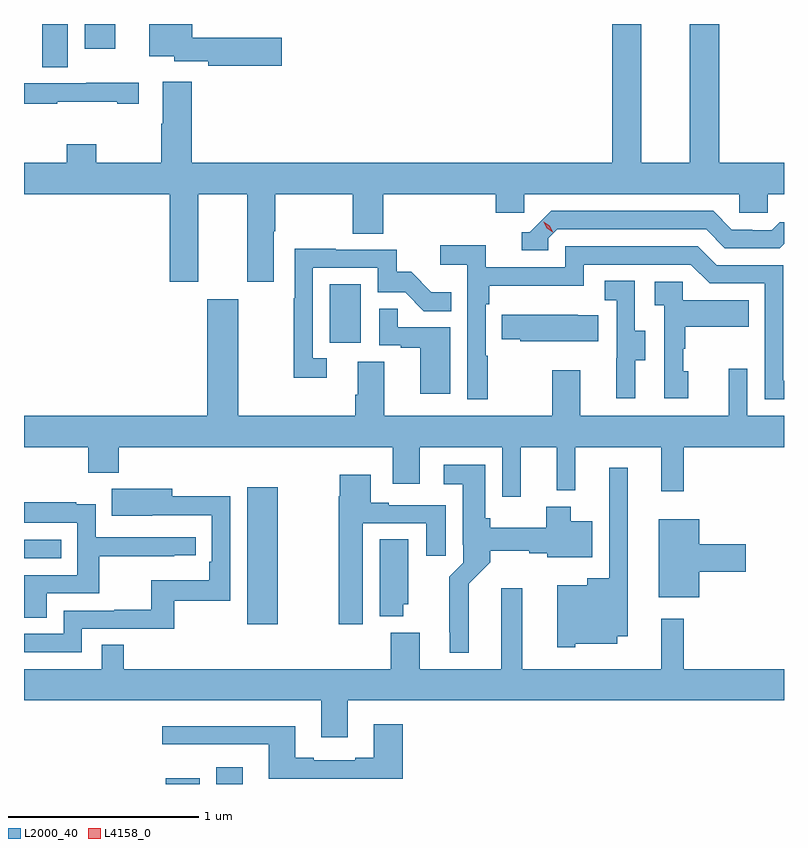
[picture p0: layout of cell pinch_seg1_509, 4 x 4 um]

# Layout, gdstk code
import gdstk
lib = gdstk.Library(unit=1e-6, precision=1e-09)
def R(c, l, rs):  # rectangles x0, y0, x1, y1
    for r in rs: c.add(gdstk.rectangle(r[:2], r[2:], *l))
def P(c, l, *ps):  # polygons
    for p in ps: c.add(gdstk.Polygon(p, *l))
L2000_40 = (2000, 40)
L4158_0 = (4158, 0)

pinch_seg1_509 = lib.new_cell('pinch_seg1_509')
R(pinch_seg1_509, L2000_40, [(1042.244,527.315,1042.423,527.344), (1042.511,527.315,1042.651,527.404), (1042.673,528.156,1042.834,528.877), (1041.499,528.504,1041.695,528.6), (1043.108,529.638,1043.272,529.945), (1041.596,531.088,1041.73,531.315), (1041.818,531.186,1041.979,531.315)])
P(pinch_seg1_509, L2000_40, [(1042.855,531.242),(1042.384,531.242),(1042.384,531.315),(1042.157,531.315),(1042.157,531.146),(1042.29,531.146),(1042.29,531.119),(1042.47,531.119),(1042.47,531.095),(1042.855,531.095)],
  [(1042.417,530.42),(1042.673,530.42),(1042.673,529.959),(1042.813,529.959),(1042.813,530.224),(1042.821,530.224),(1042.821,530.42),(1043.23,530.42),(1043.23,530.212),(1043.39,530.212),(1043.39,530.42),(1043.981,530.42),(1043.981,530.322),(1044.132,530.322),(1044.132,530.42),(1045.263,530.42),(1045.263,530.322),(1045.413,530.322),(1045.413,530.42),(1045.499,530.42),(1045.499,530.584),(1045.157,530.584),(1045.157,531.315),(1045.004,531.315),(1045.004,530.584),(1044.748,530.584),(1044.748,531.315),(1044.596,531.315),(1044.596,530.584),(1042.382,530.584),(1042.382,531.01),(1042.229,531.01),(1042.229,530.789),(1042.222,530.789),(1042.222,530.584),(1041.879,530.584),(1041.879,530.683),(1041.724,530.683),(1041.724,530.584),(1041.499,530.584),(1041.499,530.42),(1042.265,530.42),(1042.265,529.959),(1042.417,529.959)],
  [(1041.674,530.905),(1041.989,530.905),(1041.989,530.895),(1042.102,530.895),(1042.102,531.005),(1041.826,531.005),(1041.826,531.003),(1041.499,531.003),(1041.499,530.895),(1041.674,530.895)],
  [(1044.258,530.187),(1044.306,530.235),(1045.089,530.235),(1045.188,530.136),(1045.477,530.136),(1045.499,530.158),(1045.499,530.272),(1045.477,530.272),(1045.435,530.229),(1045.332,530.229),(1045.332,530.232),(1045.225,530.232),(1045.126,530.331),(1044.273,530.331),(1044.162,530.22),(1044.119,530.22),(1044.119,530.124),(1044.258,530.124)],
  [(1043.941,529.568),(1043.928,529.568),(1043.928,529.841),(1043.948,529.841),(1043.948,529.937),(1044.444,529.937),(1044.444,530.049),(1045.008,530.049),(1045.107,529.95),(1045.398,529.95),(1045.398,529.341),(1045.499,529.341),(1045.499,529.437),(1045.494,529.437),(1045.494,530.046),(1045.144,530.046),(1045.045,530.145),(1044.348,530.145),(1044.348,530.034),(1043.93,530.034),(1043.93,530.15),(1043.691,530.15),(1043.691,530.048),(1043.832,530.048),(1043.832,529.341),(1043.941,529.341)],
  [(1043.092,529.557),(1043.019,529.557),(1043.019,530.031),(1043.361,530.031),(1043.361,529.902),(1043.505,529.902),(1043.603,529.804),(1043.747,529.804),(1043.747,529.903),(1043.643,529.903),(1043.536,530.01),(1043.46,530.01),(1043.46,530.127),(1043.141,530.127),(1043.141,530.132),(1042.923,530.132),(1042.923,529.871),(1042.918,529.871),(1042.918,529.452),(1043.092,529.452)],
  [(1044.715,529.546),(1044.769,529.546),(1044.769,529.701),(1044.714,529.701),(1044.714,529.964),(1044.555,529.964),(1044.555,529.861),(1044.618,529.861),(1044.618,529.557),(1044.617,529.557),(1044.617,529.344),(1044.715,529.344)],
  [(1044.994,529.488),(1044.969,529.488),(1044.969,529.607),(1044.978,529.607),(1044.978,529.721),(1045.313,529.721),(1045.313,529.861),(1044.966,529.861),(1044.966,529.959),(1044.819,529.959),(1044.819,529.835),(1044.87,529.835),(1044.87,529.344),(1044.994,529.344)],
  [(1044.113,529.088),(1044.302,529.088),(1044.302,528.86),(1044.401,528.86),(1044.401,529.088),(1044.853,529.088),(1044.853,528.855),(1044.971,528.855),(1044.971,529.088),(1045.499,529.088),(1045.499,529.252),(1045.305,529.252),(1045.305,529.501),(1045.208,529.501),(1045.208,529.252),(1044.427,529.252),(1044.427,529.492),(1044.28,529.492),(1044.28,529.252),(1043.395,529.252),(1043.395,529.538),(1043.255,529.538),(1043.255,529.364),(1043.243,529.364),(1043.243,529.252),(1042.627,529.252),(1042.627,529.867),(1042.463,529.867),(1042.463,529.252),(1041.499,529.252),(1041.499,529.088),(1041.838,529.088),(1041.838,528.953),(1041.998,528.953),(1041.998,529.088),(1043.441,529.088),(1043.441,528.894),(1043.581,528.894),(1043.581,529.088),(1044.015,529.088),(1044.015,528.828),(1044.113,528.828)],
  [(1043.743,529.719),(1043.465,529.719),(1043.465,529.817),(1043.37,529.817),(1043.37,529.623),(1043.481,529.623),(1043.481,529.611),(1043.585,529.611),(1043.585,529.368),(1043.743,529.368)],
  [(1044.521,529.783),(1044.413,529.783),(1044.413,529.786),(1044.013,529.786),(1044.013,529.657),(1044.111,529.657),(1044.111,529.646),(1044.521,529.646)],
  [(1043.839,528.368),(1043.952,528.481),(1043.952,528.542),(1044.158,528.542),(1044.158,528.53),(1044.254,528.53),(1044.254,528.509),(1044.49,528.509),(1044.49,528.697),(1044.376,528.697),(1044.376,528.775),(1044.247,528.775),(1044.247,528.664),(1043.952,528.664),(1043.952,528.714),(1043.926,528.714),(1043.926,528.994),(1043.709,528.994),(1043.709,528.893),(1043.807,528.893),(1043.807,528.574),(1043.811,528.574),(1043.811,528.48),(1043.737,528.406),(1043.737,528.115),(1043.741,528.115),(1043.741,528.005),(1043.839,528.005)],
  [(1044.399,528.053),(1044.622,528.053),(1044.622,528.092),(1044.676,528.092),(1044.676,528.979),(1044.579,528.979),(1044.579,528.397),(1044.464,528.397),(1044.464,528.361),(1044.305,528.361),(1044.305,528.035),(1044.399,528.035)],
  [(1043.281,528.687),(1043.615,528.687),(1043.615,528.516),(1043.719,528.516),(1043.719,528.783),(1043.419,528.783),(1043.419,528.796),(1043.323,528.796),(1043.323,528.943),(1043.162,528.943),(1043.162,528.83),(1043.155,528.83),(1043.155,528.156),(1043.281,528.156)],
  [(1041.804,528.132),(1042.291,528.132),(1042.291,528.279),(1042.584,528.279),(1042.584,528.83),(1042.279,528.83),(1042.279,528.868),(1041.961,528.868),(1041.961,528.728),(1042.175,528.728),(1042.175,528.729),(1042.488,528.729),(1042.488,528.484),(1042.475,528.484),(1042.475,528.388),(1042.17,528.388),(1042.17,528.233),(1041.973,528.233),(1041.973,528.228),(1041.708,528.228),(1041.708,528.105),(1041.499,528.105),(1041.499,528.009),(1041.804,528.009)],
  [(1041.619,528.318),(1041.896,528.318),(1041.896,528.514),(1042.289,528.514),(1042.289,528.519),(1042.402,528.519),(1042.402,528.615),(1041.876,528.615),(1041.876,528.787),(1041.773,528.787),(1041.773,528.799),(1041.499,528.799),(1041.499,528.69),(1041.78,528.69),(1041.78,528.414),(1041.499,528.414),(1041.499,528.19),(1041.619,528.19)],
  [(1045.054,528.431),(1045.297,528.431),(1045.297,528.578),(1045.054,528.578),(1045.054,528.709),(1044.839,528.709),(1044.839,528.299),(1045.054,528.299)],
  [(1043.494,528.261),(1043.521,528.261),(1043.521,528.602),(1043.372,528.602),(1043.372,528.197),(1043.494,528.197)],
  [(1043.203,527.756),(1045.499,527.756),(1045.499,527.92),(1044.971,527.92),(1044.971,528.184),(1044.853,528.184),(1044.853,527.92),(1044.121,527.92),(1044.121,528.346),(1044.011,528.346),(1044.011,527.92),(1043.581,527.92),(1043.581,528.112),(1043.429,528.112),(1043.429,527.92),(1042.025,527.92),(1042.025,528.047),(1041.909,528.047),(1041.909,527.92),(1041.499,527.92),(1041.499,527.756),(1043.063,527.756),(1043.063,527.562),(1043.203,527.562)],
  [(1043.492,527.629),(1043.339,527.629),(1043.339,527.452),(1043.243,527.452),(1043.243,527.439),(1043.023,527.439),(1043.023,527.452),(1042.927,527.452),(1042.927,527.62),(1042.227,527.62),(1042.227,527.523),(1042.787,527.523),(1042.787,527.342),(1043.492,527.342)])
P(pinch_seg1_509, L4158_0, [(1044.281,530.22),(1044.25,530.24),(1044.234,530.272),(1044.234,530.273),(1044.234,530.273),(1044.265,530.253),(1044.282,530.22),(1044.282,530.22)])

lib.write_gds('pinch_seg1_509.gds')
